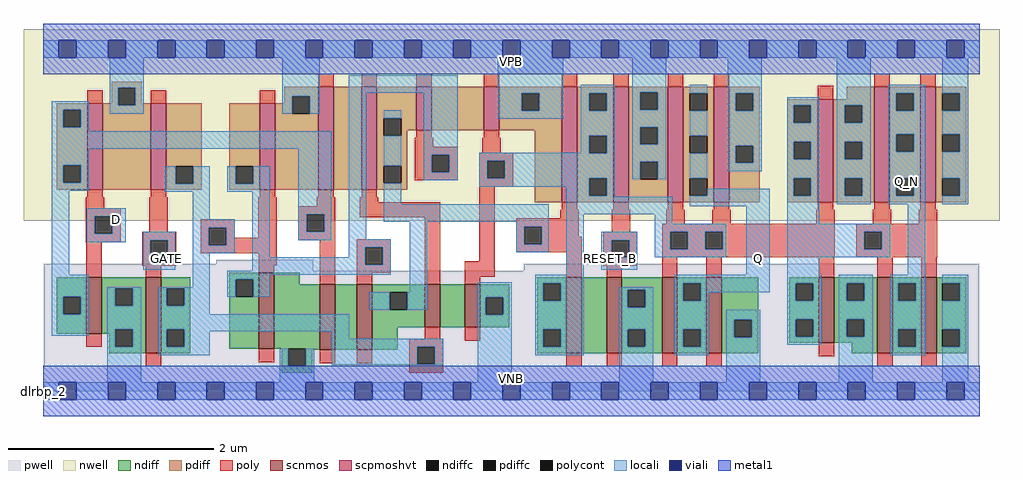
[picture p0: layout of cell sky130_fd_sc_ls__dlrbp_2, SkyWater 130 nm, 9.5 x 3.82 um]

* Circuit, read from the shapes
.subckt sky130_fd_sc_ls__dlrbp_2 D GATE RESET_B VGND VNB VPB VPWR Q Q_N
XM1 VGND D n1 VNB sky130_fd_pr__nfet_01v8 w=0.55 l=0.15
XM2 n2 GATE VGND VNB sky130_fd_pr__nfet_01v8 w=0.74 l=0.15
XM3 VGND n2 n3 VNB sky130_fd_pr__nfet_01v8 w=0.74 l=0.15
XM4 n4 n1 VGND VNB sky130_fd_pr__nfet_01v8 w=0.64 l=0.15
XM5 n5 n3 n4 VNB sky130_fd_pr__nfet_01v8 w=0.64 l=0.15
XM6 n6 n2 n5 VNB sky130_fd_pr__nfet_01v8 w=0.42 l=0.15
XM7 VGND n7 n6 VNB sky130_fd_pr__nfet_01v8 w=0.42 l=0.15
XM8 n8 n5 n7 VNB sky130_fd_pr__nfet_01v8 w=0.74 l=0.15
XM9 VGND RESET_B n8 VNB sky130_fd_pr__nfet_01v8 w=0.74 l=0.15
XM10 Q n7 VGND VNB sky130_fd_pr__nfet_01v8 w=0.74 l=0.15 m=2
XM11 VGND n7 n9 VNB sky130_fd_pr__nfet_01v8 w=0.64 l=0.15
XM12 Q_N n9 VGND VNB sky130_fd_pr__nfet_01v8 w=0.74 l=0.15 m=2
XM13 VPWR D n1 VPB sky130_fd_pr__pfet_01v8_hvt w=0.84 l=0.15
XM14 n2 GATE VPWR VPB sky130_fd_pr__pfet_01v8_hvt w=0.84 l=0.15
XM15 VPWR n2 n3 VPB sky130_fd_pr__pfet_01v8_hvt w=0.84 l=0.15
XM16 n10 n1 VPWR VPB sky130_fd_pr__pfet_01v8_hvt w=1 l=0.15
XM17 n5 n2 n10 VPB sky130_fd_pr__pfet_01v8_hvt w=1 l=0.15
XM18 n11 n3 n5 VPB sky130_fd_pr__pfet_01v8_hvt w=0.42 l=0.15
XM19 VPWR n7 n11 VPB sky130_fd_pr__pfet_01v8_hvt w=0.42 l=0.15
XM20 n7 n5 VPWR VPB sky130_fd_pr__pfet_01v8_hvt w=1.12 l=0.15
XM21 VPWR RESET_B n7 VPB sky130_fd_pr__pfet_01v8_hvt w=1.12 l=0.15
XM22 Q n7 VPWR VPB sky130_fd_pr__pfet_01v8_hvt w=1.12 l=0.15 m=2
XM23 VPWR n7 n9 VPB sky130_fd_pr__pfet_01v8_hvt w=1 l=0.15
XM24 Q_N n9 VPWR VPB sky130_fd_pr__pfet_01v8_hvt w=1.12 l=0.15 m=2
.ends

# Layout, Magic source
magic
tech sky130A
magscale 1 2
<< nwell >>
rect -38 332 1862 704
<< pwell >>
rect 337 248 526 256
rect 1 234 526 248
rect 936 234 1823 248
rect 1 49 1823 234
rect 0 0 1824 49
<< scnmos >>
rect 84 112 114 222
rect 200 74 230 222
rect 420 82 450 230
rect 539 80 569 208
rect 611 80 641 208
rect 743 124 773 208
rect 821 124 851 208
rect 1019 74 1049 222
rect 1097 74 1127 222
rect 1205 74 1235 222
rect 1291 74 1321 222
rect 1510 94 1540 222
rect 1624 74 1654 222
rect 1710 74 1740 222
<< scpmoshvt >>
rect 86 392 116 560
rect 210 392 240 560
rect 422 392 452 560
rect 536 392 566 592
rect 620 392 650 592
rect 727 508 757 592
rect 858 508 888 592
rect 1010 368 1040 592
rect 1110 368 1140 592
rect 1216 368 1246 592
rect 1306 368 1336 592
rect 1508 368 1538 568
rect 1618 368 1648 592
rect 1708 368 1738 592
<< ndiff >>
rect 27 184 84 222
rect 27 150 39 184
rect 73 150 84 184
rect 27 112 84 150
rect 114 200 200 222
rect 114 166 141 200
rect 175 166 200 200
rect 114 120 200 166
rect 114 112 141 120
rect 129 86 141 112
rect 175 86 200 120
rect 129 74 200 86
rect 230 200 287 222
rect 230 166 241 200
rect 275 166 287 200
rect 230 120 287 166
rect 230 86 241 120
rect 275 86 287 120
rect 230 74 287 86
rect 363 218 420 230
rect 363 184 375 218
rect 409 184 420 218
rect 363 82 420 184
rect 450 208 500 230
rect 962 210 1019 222
rect 450 82 539 208
rect 465 48 477 82
rect 511 80 539 82
rect 569 80 611 208
rect 641 192 743 208
rect 641 158 675 192
rect 709 158 743 192
rect 641 124 743 158
rect 773 124 821 208
rect 851 183 908 208
rect 851 149 862 183
rect 896 149 908 183
rect 851 124 908 149
rect 962 176 974 210
rect 1008 176 1019 210
rect 641 80 691 124
rect 962 120 1019 176
rect 511 48 524 80
rect 465 36 524 48
rect 962 86 974 120
rect 1008 86 1019 120
rect 962 74 1019 86
rect 1049 74 1097 222
rect 1127 197 1205 222
rect 1127 163 1138 197
rect 1172 163 1205 197
rect 1127 120 1205 163
rect 1127 86 1138 120
rect 1172 86 1205 120
rect 1127 74 1205 86
rect 1235 210 1291 222
rect 1235 176 1246 210
rect 1280 176 1291 210
rect 1235 120 1291 176
rect 1235 86 1246 120
rect 1280 86 1291 120
rect 1235 74 1291 86
rect 1321 139 1392 222
rect 1321 105 1346 139
rect 1380 105 1392 139
rect 1321 74 1392 105
rect 1453 210 1510 222
rect 1453 176 1465 210
rect 1499 176 1510 210
rect 1453 140 1510 176
rect 1453 106 1465 140
rect 1499 106 1510 140
rect 1453 94 1510 106
rect 1540 210 1624 222
rect 1540 176 1565 210
rect 1599 176 1624 210
rect 1540 140 1624 176
rect 1540 106 1565 140
rect 1599 106 1624 140
rect 1540 94 1624 106
rect 1574 74 1624 94
rect 1654 210 1710 222
rect 1654 176 1665 210
rect 1699 176 1710 210
rect 1654 120 1710 176
rect 1654 86 1665 120
rect 1699 86 1710 120
rect 1654 74 1710 86
rect 1740 210 1797 222
rect 1740 176 1751 210
rect 1785 176 1797 210
rect 1740 120 1797 176
rect 1740 86 1751 120
rect 1785 86 1797 120
rect 1740 74 1797 86
<< pdiff >>
rect 134 590 192 602
rect 134 560 146 590
rect 27 548 86 560
rect 27 514 39 548
rect 73 514 86 548
rect 27 440 86 514
rect 27 406 39 440
rect 73 406 86 440
rect 27 392 86 406
rect 116 556 146 560
rect 180 560 192 590
rect 470 574 536 592
rect 470 560 485 574
rect 180 556 210 560
rect 116 392 210 556
rect 240 438 309 560
rect 240 404 258 438
rect 292 404 309 438
rect 240 392 309 404
rect 363 438 422 560
rect 363 404 375 438
rect 409 404 422 438
rect 363 392 422 404
rect 452 540 485 560
rect 519 540 536 574
rect 452 392 536 540
rect 566 392 620 592
rect 650 531 727 592
rect 650 497 663 531
rect 697 508 727 531
rect 757 508 858 592
rect 888 580 1010 592
rect 888 546 932 580
rect 966 546 1010 580
rect 888 508 1010 546
rect 697 497 709 508
rect 650 439 709 497
rect 650 405 663 439
rect 697 405 709 439
rect 650 392 709 405
rect 957 368 1010 508
rect 1040 580 1110 592
rect 1040 546 1063 580
rect 1097 546 1110 580
rect 1040 497 1110 546
rect 1040 463 1063 497
rect 1097 463 1110 497
rect 1040 414 1110 463
rect 1040 380 1063 414
rect 1097 380 1110 414
rect 1040 368 1110 380
rect 1140 582 1216 592
rect 1140 548 1163 582
rect 1197 548 1216 582
rect 1140 514 1216 548
rect 1140 480 1163 514
rect 1197 480 1216 514
rect 1140 446 1216 480
rect 1140 412 1163 446
rect 1197 412 1216 446
rect 1140 368 1216 412
rect 1246 580 1306 592
rect 1246 546 1259 580
rect 1293 546 1306 580
rect 1246 497 1306 546
rect 1246 463 1259 497
rect 1293 463 1306 497
rect 1246 414 1306 463
rect 1246 380 1259 414
rect 1293 380 1306 414
rect 1246 368 1306 380
rect 1336 580 1395 592
rect 1336 546 1349 580
rect 1383 546 1395 580
rect 1565 568 1618 592
rect 1336 478 1395 546
rect 1336 444 1349 478
rect 1383 444 1395 478
rect 1336 368 1395 444
rect 1449 556 1508 568
rect 1449 522 1461 556
rect 1495 522 1508 556
rect 1449 485 1508 522
rect 1449 451 1461 485
rect 1495 451 1508 485
rect 1449 414 1508 451
rect 1449 380 1461 414
rect 1495 380 1508 414
rect 1449 368 1508 380
rect 1538 556 1618 568
rect 1538 522 1561 556
rect 1595 522 1618 556
rect 1538 485 1618 522
rect 1538 451 1561 485
rect 1595 451 1618 485
rect 1538 414 1618 451
rect 1538 380 1561 414
rect 1595 380 1618 414
rect 1538 368 1618 380
rect 1648 580 1708 592
rect 1648 546 1661 580
rect 1695 546 1708 580
rect 1648 500 1708 546
rect 1648 466 1661 500
rect 1695 466 1708 500
rect 1648 414 1708 466
rect 1648 380 1661 414
rect 1695 380 1708 414
rect 1648 368 1708 380
rect 1738 580 1797 592
rect 1738 546 1751 580
rect 1785 546 1797 580
rect 1738 500 1797 546
rect 1738 466 1751 500
rect 1785 466 1797 500
rect 1738 414 1797 466
rect 1738 380 1751 414
rect 1785 380 1797 414
rect 1738 368 1797 380
<< ndiffc >>
rect 39 150 73 184
rect 141 166 175 200
rect 141 86 175 120
rect 241 166 275 200
rect 241 86 275 120
rect 375 184 409 218
rect 477 48 511 82
rect 675 158 709 192
rect 862 149 896 183
rect 974 176 1008 210
rect 974 86 1008 120
rect 1138 163 1172 197
rect 1138 86 1172 120
rect 1246 176 1280 210
rect 1246 86 1280 120
rect 1346 105 1380 139
rect 1465 176 1499 210
rect 1465 106 1499 140
rect 1565 176 1599 210
rect 1565 106 1599 140
rect 1665 176 1699 210
rect 1665 86 1699 120
rect 1751 176 1785 210
rect 1751 86 1785 120
<< pdiffc >>
rect 39 514 73 548
rect 39 406 73 440
rect 146 556 180 590
rect 258 404 292 438
rect 375 404 409 438
rect 485 540 519 574
rect 663 497 697 531
rect 932 546 966 580
rect 663 405 697 439
rect 1063 546 1097 580
rect 1063 463 1097 497
rect 1063 380 1097 414
rect 1163 548 1197 582
rect 1163 480 1197 514
rect 1163 412 1197 446
rect 1259 546 1293 580
rect 1259 463 1293 497
rect 1259 380 1293 414
rect 1349 546 1383 580
rect 1349 444 1383 478
rect 1461 522 1495 556
rect 1461 451 1495 485
rect 1461 380 1495 414
rect 1561 522 1595 556
rect 1561 451 1595 485
rect 1561 380 1595 414
rect 1661 546 1695 580
rect 1661 466 1695 500
rect 1661 380 1695 414
rect 1751 546 1785 580
rect 1751 466 1785 500
rect 1751 380 1785 414
<< poly >>
rect 536 592 566 618
rect 620 592 650 618
rect 727 592 757 618
rect 858 592 888 618
rect 1010 592 1040 618
rect 1110 592 1140 618
rect 1216 592 1246 618
rect 1306 592 1336 618
rect 86 560 116 586
rect 210 560 240 586
rect 422 560 452 586
rect 727 493 757 508
rect 858 493 888 508
rect 724 476 760 493
rect 724 460 807 476
rect 855 464 891 493
rect 724 426 757 460
rect 791 426 807 460
rect 724 410 807 426
rect 849 448 915 464
rect 849 414 865 448
rect 899 414 915 448
rect 849 398 915 414
rect 86 377 116 392
rect 210 377 240 392
rect 422 377 452 392
rect 536 377 566 392
rect 620 377 650 392
rect 83 356 119 377
rect 83 340 151 356
rect 83 306 101 340
rect 135 306 151 340
rect 207 310 243 377
rect 307 318 373 334
rect 83 290 151 306
rect 193 294 259 310
rect 84 222 114 290
rect 193 260 209 294
rect 243 260 259 294
rect 307 284 323 318
rect 357 298 373 318
rect 419 298 455 377
rect 533 360 569 377
rect 357 284 455 298
rect 497 344 569 360
rect 497 310 513 344
rect 547 310 569 344
rect 617 368 653 377
rect 617 338 773 368
rect 497 294 569 310
rect 307 268 455 284
rect 193 244 259 260
rect 420 245 455 268
rect 200 222 230 244
rect 420 230 450 245
rect 84 86 114 112
rect 539 208 569 294
rect 611 280 677 296
rect 611 246 627 280
rect 661 246 677 280
rect 611 230 677 246
rect 611 208 641 230
rect 743 208 773 338
rect 849 253 879 398
rect 1508 568 1538 594
rect 1618 592 1648 618
rect 1708 592 1738 618
rect 1010 353 1040 368
rect 1110 353 1140 368
rect 1216 353 1246 368
rect 1306 353 1336 368
rect 1508 353 1538 368
rect 1618 353 1648 368
rect 1708 353 1738 368
rect 1007 336 1043 353
rect 921 320 1043 336
rect 921 286 937 320
rect 971 300 1043 320
rect 1107 310 1143 353
rect 1213 326 1249 353
rect 1303 326 1339 353
rect 1505 326 1541 353
rect 1615 326 1651 353
rect 1705 326 1741 353
rect 1205 310 1541 326
rect 971 286 1049 300
rect 921 270 1049 286
rect 821 223 879 253
rect 821 208 851 223
rect 1019 222 1049 270
rect 1091 294 1157 310
rect 1091 260 1107 294
rect 1141 260 1157 294
rect 1091 244 1157 260
rect 1205 276 1221 310
rect 1255 276 1289 310
rect 1323 276 1541 310
rect 1205 260 1541 276
rect 1583 310 1741 326
rect 1583 276 1599 310
rect 1633 276 1741 310
rect 1583 260 1741 276
rect 1097 222 1127 244
rect 1205 222 1235 260
rect 1291 222 1321 260
rect 1510 222 1540 260
rect 1624 222 1654 260
rect 1710 222 1740 260
rect 200 48 230 74
rect 420 56 450 82
rect 743 102 773 124
rect 713 86 779 102
rect 821 98 851 124
rect 539 54 569 80
rect 611 54 641 80
rect 713 52 729 86
rect 763 52 779 86
rect 713 36 779 52
rect 1019 48 1049 74
rect 1097 48 1127 74
rect 1205 48 1235 74
rect 1291 48 1321 74
rect 1510 68 1540 94
rect 1624 48 1654 74
rect 1710 48 1740 74
<< polycont >>
rect 757 426 791 460
rect 865 414 899 448
rect 101 306 135 340
rect 209 260 243 294
rect 323 284 357 318
rect 513 310 547 344
rect 627 246 661 280
rect 937 286 971 320
rect 1107 260 1141 294
rect 1221 276 1255 310
rect 1289 276 1323 310
rect 1599 276 1633 310
rect 729 52 763 86
<< locali >>
rect 0 649 31 683
rect 65 649 127 683
rect 161 649 223 683
rect 257 649 319 683
rect 353 649 415 683
rect 449 649 511 683
rect 545 649 607 683
rect 641 649 703 683
rect 737 649 799 683
rect 833 649 895 683
rect 929 649 991 683
rect 1025 649 1087 683
rect 1121 649 1183 683
rect 1217 649 1279 683
rect 1313 649 1375 683
rect 1409 649 1471 683
rect 1505 649 1567 683
rect 1601 649 1663 683
rect 1697 649 1759 683
rect 1793 649 1824 683
rect 130 590 196 649
rect 17 548 89 564
rect 17 514 39 548
rect 73 514 89 548
rect 130 556 146 590
rect 180 556 196 590
rect 130 540 196 556
rect 466 574 539 649
rect 466 540 485 574
rect 519 540 539 574
rect 595 581 807 615
rect 17 506 89 514
rect 17 472 561 506
rect 17 440 89 472
rect 17 406 39 440
rect 73 406 89 440
rect 17 390 89 406
rect 237 404 258 438
rect 292 404 325 438
rect 17 226 51 390
rect 237 388 325 404
rect 359 404 375 438
rect 409 404 441 438
rect 359 388 441 404
rect 85 340 161 356
rect 85 306 101 340
rect 135 306 161 340
rect 291 334 325 388
rect 291 318 373 334
rect 85 290 161 306
rect 195 294 257 310
rect 195 260 209 294
rect 243 260 257 294
rect 195 236 257 260
rect 291 284 323 318
rect 357 284 373 318
rect 291 268 373 284
rect 17 184 89 226
rect 291 202 325 268
rect 407 260 441 388
rect 497 344 561 472
rect 497 310 513 344
rect 547 310 561 344
rect 497 294 561 310
rect 595 296 629 581
rect 663 531 697 547
rect 663 439 697 497
rect 741 460 807 581
rect 885 580 1013 649
rect 885 546 932 580
rect 966 546 1013 580
rect 885 530 1013 546
rect 1047 580 1113 596
rect 1047 546 1063 580
rect 1097 546 1113 580
rect 1047 497 1113 546
rect 1047 464 1063 497
rect 741 426 757 460
rect 791 426 807 460
rect 741 410 807 426
rect 849 463 1063 464
rect 1097 463 1113 497
rect 849 448 1113 463
rect 849 414 865 448
rect 899 414 1113 448
rect 663 364 697 405
rect 849 398 1063 414
rect 1019 380 1063 398
rect 1097 380 1113 414
rect 1147 582 1213 649
rect 1147 548 1163 582
rect 1197 548 1213 582
rect 1147 514 1213 548
rect 1147 480 1163 514
rect 1197 480 1213 514
rect 1147 446 1213 480
rect 1147 412 1163 446
rect 1197 412 1213 446
rect 1259 580 1293 596
rect 1259 497 1293 546
rect 1259 414 1293 463
rect 1333 580 1399 649
rect 1333 546 1349 580
rect 1383 546 1399 580
rect 1333 478 1399 546
rect 1333 444 1349 478
rect 1383 444 1399 478
rect 1333 428 1399 444
rect 1449 556 1511 572
rect 1449 522 1461 556
rect 1495 522 1511 556
rect 1449 485 1511 522
rect 1449 451 1461 485
rect 1495 451 1511 485
rect 1019 378 1113 380
rect 1449 414 1511 451
rect 1293 380 1415 394
rect 663 330 985 364
rect 595 280 677 296
rect 595 260 627 280
rect 407 246 627 260
rect 661 246 677 280
rect 407 234 677 246
rect 17 150 39 184
rect 73 150 89 184
rect 17 108 89 150
rect 125 200 191 202
rect 125 166 141 200
rect 175 166 191 200
rect 125 120 191 166
rect 125 86 141 120
rect 175 86 191 120
rect 125 17 191 86
rect 225 200 325 202
rect 225 166 241 200
rect 275 166 325 200
rect 359 226 677 234
rect 359 218 441 226
rect 359 184 375 218
rect 409 184 441 218
rect 714 192 748 330
rect 921 320 985 330
rect 921 286 937 320
rect 971 286 985 320
rect 921 270 985 286
rect 1019 344 1225 378
rect 1259 360 1415 380
rect 1019 226 1053 344
rect 1191 326 1225 344
rect 1191 310 1330 326
rect 1087 294 1157 310
rect 1087 260 1107 294
rect 1141 260 1157 294
rect 1191 276 1221 310
rect 1255 276 1289 310
rect 1323 276 1330 310
rect 1191 260 1330 276
rect 1087 236 1157 260
rect 1369 226 1415 360
rect 225 150 325 166
rect 636 158 675 192
rect 709 158 748 192
rect 846 183 912 212
rect 225 120 596 150
rect 225 86 241 120
rect 275 116 596 120
rect 275 86 325 116
rect 225 70 325 86
rect 562 102 596 116
rect 846 149 862 183
rect 896 149 912 183
rect 562 86 779 102
rect 461 48 477 82
rect 511 48 528 82
rect 562 52 729 86
rect 763 52 779 86
rect 562 51 779 52
rect 461 17 528 48
rect 846 17 912 149
rect 958 210 1053 226
rect 958 176 974 210
rect 1008 176 1053 210
rect 1230 210 1415 226
rect 958 120 1053 176
rect 958 86 974 120
rect 1008 86 1053 120
rect 958 70 1053 86
rect 1122 197 1188 202
rect 1122 163 1138 197
rect 1172 163 1188 197
rect 1122 120 1188 163
rect 1122 86 1138 120
rect 1172 86 1188 120
rect 1122 17 1188 86
rect 1230 176 1246 210
rect 1280 192 1415 210
rect 1449 380 1461 414
rect 1495 380 1511 414
rect 1449 326 1511 380
rect 1545 556 1611 649
rect 1545 522 1561 556
rect 1595 522 1611 556
rect 1545 485 1611 522
rect 1545 451 1561 485
rect 1595 451 1611 485
rect 1545 414 1611 451
rect 1545 380 1561 414
rect 1595 380 1611 414
rect 1545 364 1611 380
rect 1645 580 1717 596
rect 1645 546 1661 580
rect 1695 546 1717 580
rect 1645 500 1717 546
rect 1645 466 1661 500
rect 1695 466 1717 500
rect 1645 414 1717 466
rect 1645 380 1661 414
rect 1695 380 1717 414
rect 1645 364 1717 380
rect 1751 580 1801 649
rect 1785 546 1801 580
rect 1751 500 1801 546
rect 1785 466 1801 500
rect 1751 414 1801 466
rect 1785 380 1801 414
rect 1751 364 1801 380
rect 1449 310 1649 326
rect 1449 276 1599 310
rect 1633 276 1649 310
rect 1449 260 1649 276
rect 1449 226 1511 260
rect 1683 226 1717 364
rect 1449 210 1515 226
rect 1280 176 1296 192
rect 1230 120 1296 176
rect 1449 176 1465 210
rect 1499 176 1515 210
rect 1230 86 1246 120
rect 1280 86 1296 120
rect 1230 70 1296 86
rect 1330 139 1396 158
rect 1330 105 1346 139
rect 1380 105 1396 139
rect 1330 17 1396 105
rect 1449 140 1515 176
rect 1449 106 1465 140
rect 1499 106 1515 140
rect 1449 90 1515 106
rect 1549 210 1615 226
rect 1549 176 1565 210
rect 1599 176 1615 210
rect 1549 140 1615 176
rect 1549 106 1565 140
rect 1599 106 1615 140
rect 1549 17 1615 106
rect 1649 210 1717 226
rect 1649 176 1665 210
rect 1699 176 1717 210
rect 1649 120 1717 176
rect 1649 86 1665 120
rect 1699 86 1717 120
rect 1649 70 1717 86
rect 1751 210 1801 226
rect 1785 176 1801 210
rect 1751 120 1801 176
rect 1785 86 1801 120
rect 1751 17 1801 86
rect 0 -17 31 17
rect 65 -17 127 17
rect 161 -17 223 17
rect 257 -17 319 17
rect 353 -17 415 17
rect 449 -17 511 17
rect 545 -17 607 17
rect 641 -17 703 17
rect 737 -17 799 17
rect 833 -17 895 17
rect 929 -17 991 17
rect 1025 -17 1087 17
rect 1121 -17 1183 17
rect 1217 -17 1279 17
rect 1313 -17 1375 17
rect 1409 -17 1471 17
rect 1505 -17 1567 17
rect 1601 -17 1663 17
rect 1697 -17 1759 17
rect 1793 -17 1824 17
<< viali >>
rect 31 649 65 683
rect 127 649 161 683
rect 223 649 257 683
rect 319 649 353 683
rect 415 649 449 683
rect 511 649 545 683
rect 607 649 641 683
rect 703 649 737 683
rect 799 649 833 683
rect 895 649 929 683
rect 991 649 1025 683
rect 1087 649 1121 683
rect 1183 649 1217 683
rect 1279 649 1313 683
rect 1375 649 1409 683
rect 1471 649 1505 683
rect 1567 649 1601 683
rect 1663 649 1697 683
rect 1759 649 1793 683
rect 31 -17 65 17
rect 127 -17 161 17
rect 223 -17 257 17
rect 319 -17 353 17
rect 415 -17 449 17
rect 511 -17 545 17
rect 607 -17 641 17
rect 703 -17 737 17
rect 799 -17 833 17
rect 895 -17 929 17
rect 991 -17 1025 17
rect 1087 -17 1121 17
rect 1183 -17 1217 17
rect 1279 -17 1313 17
rect 1375 -17 1409 17
rect 1471 -17 1505 17
rect 1567 -17 1601 17
rect 1663 -17 1697 17
rect 1759 -17 1793 17
<< metal1 >>
rect 0 683 1824 715
rect 0 649 31 683
rect 65 649 127 683
rect 161 649 223 683
rect 257 649 319 683
rect 353 649 415 683
rect 449 649 511 683
rect 545 649 607 683
rect 641 649 703 683
rect 737 649 799 683
rect 833 649 895 683
rect 929 649 991 683
rect 1025 649 1087 683
rect 1121 649 1183 683
rect 1217 649 1279 683
rect 1313 649 1375 683
rect 1409 649 1471 683
rect 1505 649 1567 683
rect 1601 649 1663 683
rect 1697 649 1759 683
rect 1793 649 1824 683
rect 0 617 1824 649
rect 0 17 1824 49
rect 0 -17 31 17
rect 65 -17 127 17
rect 161 -17 223 17
rect 257 -17 319 17
rect 353 -17 415 17
rect 449 -17 511 17
rect 545 -17 607 17
rect 641 -17 703 17
rect 737 -17 799 17
rect 833 -17 895 17
rect 929 -17 991 17
rect 1025 -17 1087 17
rect 1121 -17 1183 17
rect 1217 -17 1279 17
rect 1313 -17 1375 17
rect 1409 -17 1471 17
rect 1505 -17 1567 17
rect 1601 -17 1663 17
rect 1697 -17 1759 17
rect 1793 -17 1824 17
rect 0 -49 1824 -17
<< labels >>
rlabel comment s 0 0 0 0 4 dlrbp_2
flabel pwell s 0 0 1824 49 0 FreeSans 200 0 0 0 VNB
port 5 nsew ground bidirectional
flabel nwell s 0 617 1824 666 0 FreeSans 200 0 0 0 VPB
port 6 nsew power bidirectional
flabel metal1 s 0 617 1824 666 0 FreeSans 340 0 0 0 VPWR
port 7 nsew power bidirectional abutment
flabel metal1 s 0 0 1824 49 0 FreeSans 340 0 0 0 VGND
port 4 nsew ground bidirectional abutment
flabel locali s 223 242 257 276 0 FreeSans 340 0 0 0 GATE
port 2 nsew clock input
flabel locali s 127 316 161 350 0 FreeSans 340 0 0 0 D
port 1 nsew signal input
flabel locali s 1087 242 1121 276 0 FreeSans 340 0 0 0 RESET_B
port 3 nsew signal input
flabel locali s 1663 390 1697 424 0 FreeSans 340 0 0 0 Q_N
port 9 nsew signal output
flabel locali s 1375 242 1409 276 0 FreeSans 340 0 0 0 Q
port 8 nsew signal output
<< properties >>
string LEFsite unit
string LEFclass CORE
string FIXED_BBOX 0 0 1824 666
string GDS_FILE $PDKPATH/libs.ref/sky130_fd_sc_ls/gds/sky130_fd_sc_ls.gds
string LEFsymmetry X Y
string GDS_END 2030720
string GDS_START 2016962
<< end >>
